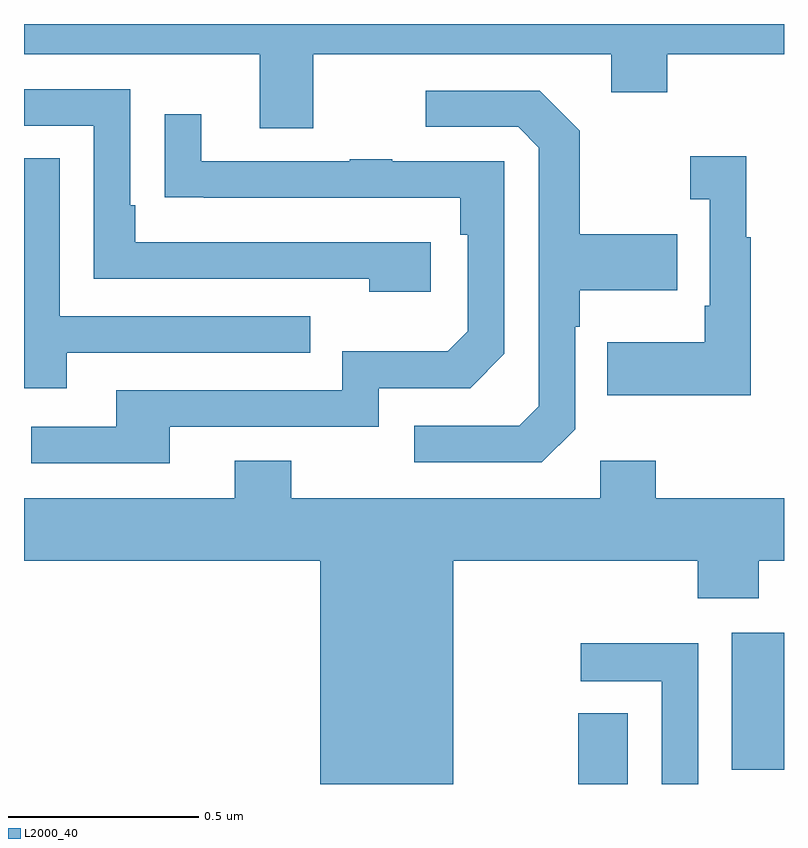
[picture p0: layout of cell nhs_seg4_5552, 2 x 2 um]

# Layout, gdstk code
import gdstk
lib = gdstk.Library(unit=1e-6, precision=1e-09)
def R(c, l, rs):  # rectangles x0, y0, x1, y1
    for r in rs: c.add(gdstk.rectangle(r[:2], r[2:], *l))
def P(c, l, *ps):  # polygons
    for p in ps: c.add(gdstk.Polygon(p, *l))
L2000_40 = (2000, 40)

nhs_seg4_5552 = lib.new_cell('nhs_seg4_5552')
R(nhs_seg4_5552, L2000_40, [(180.458,794.9,180.589,795.086), (180.863,794.937,181,795.298)])
P(nhs_seg4_5552, L2000_40, [(179.761,796.82),(180.545,796.82),(180.545,796.721),(180.693,796.721),(180.693,796.82),(181,796.82),(181,796.9),(179,796.9),(179,796.82),(179.621,796.82),(179.621,796.626),(179.761,796.626)],
  [(180.07,796.326),(179.293,796.326),(179.293,796.423),(179.28,796.423),(179.28,796.728),(179,796.728),(179,796.632),(179.184,796.632),(179.184,796.23),(179.909,796.23),(179.909,796.196),(180.07,796.196)],
  [(180.45,795.834),(180.45,796.103),(180.463,796.103),(180.463,796.199),(180.719,796.199),(180.719,796.347),(180.463,796.347),(180.463,796.619),(180.357,796.725),(180.057,796.725),(180.057,796.629),(180.3,796.629),(180.354,796.575),(180.354,795.894),(180.303,795.843),(180.027,795.843),(180.027,795.747),(180.363,795.747)],
  [(179.383,795.84),(179.934,795.84),(179.934,795.942),(180.174,795.942),(180.264,796.032),(180.264,796.539),(179.969,796.539),(179.969,796.544),(179.857,796.544),(179.857,796.539),(179.467,796.539),(179.467,796.663),(179.371,796.663),(179.371,796.444),(179.473,796.444),(179.473,796.443),(180.148,796.443),(180.148,796.346),(180.168,796.346),(180.168,796.092),(180.115,796.039),(179.838,796.039),(179.838,795.936),(179.243,795.936),(179.243,795.84),(179.019,795.84),(179.019,795.744),(179.383,795.744)],
  [(180.913,796.339),(180.901,796.339),(180.901,796.552),(180.753,796.552),(180.753,796.439),(180.804,796.439),(180.804,796.159),(180.792,796.159),(180.792,796.063),(180.535,796.063),(180.535,795.923),(180.913,795.923)],
  [(179.113,796.035),(179.753,796.035),(179.753,796.131),(179.094,796.131),(179.094,796.547),(179,796.547),(179,795.941),(179.113,795.941)],
  [(180.13,795.488),(180.773,795.488),(180.773,795.389),(180.933,795.389),(180.933,795.488),(181,795.488),(181,795.652),(180.663,795.652),(180.663,795.751),(180.516,795.751),(180.516,795.652),(179.703,795.652),(179.703,795.751),(179.555,795.751),(179.555,795.652),(179,795.652),(179,795.488),(179.78,795.488),(179.78,794.9),(180.13,794.9)],
  [(180.774,795.27),(180.465,795.27),(180.465,795.171),(180.678,795.171),(180.678,794.9),(180.774,794.9)])

lib.write_gds('nhs_seg4_5552.gds')
